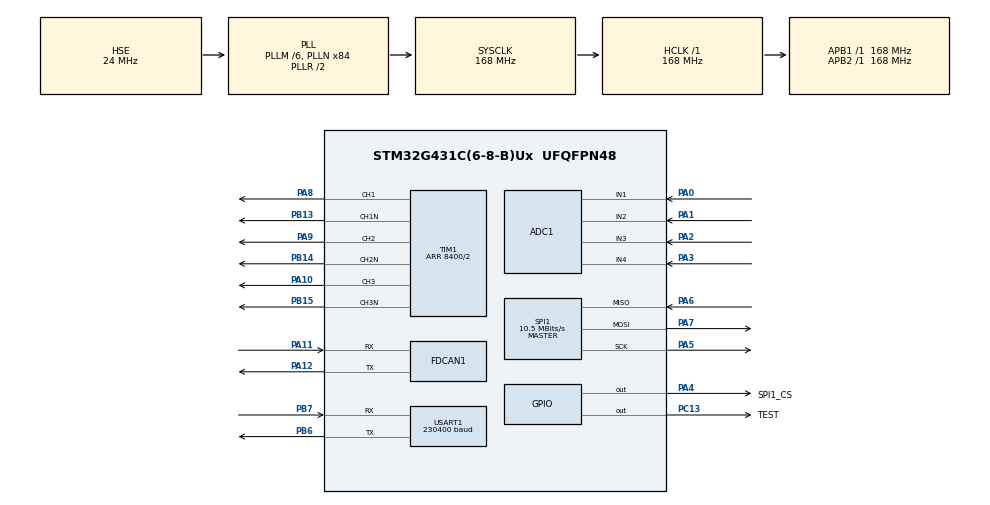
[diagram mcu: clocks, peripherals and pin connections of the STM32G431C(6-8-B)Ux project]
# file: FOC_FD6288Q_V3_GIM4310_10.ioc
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ADC1.ContinuousConvMode=ENABLE
ADC1.EnableInjectedConversion=ENABLE
ADC1.EnableRegularConversion=DISABLE
ADC1.ExternalTrigInjecConv=ADC_EXTERNALTRIGINJEC_T1_TRGO
ADC1.InjNumberOfConversion=4
ADC1.InjectedChannel-1\#ChannelInjectedConversion=ADC_CHANNEL_1
ADC1.InjectedChannel-2\#ChannelInjectedConversion=ADC_CHANNEL_2
ADC1.InjectedChannel-3\#ChannelInjectedConversion=ADC_CHANNEL_3
ADC1.InjectedChannel-4\#ChannelInjectedConversion=ADC_CHANNEL_4
ADC1.InjectedOffsetNumber-1\#ChannelInjectedConversion=ADC_OFFSET_NONE
ADC1.InjectedOffsetNumber-2\#ChannelInjectedConversion=ADC_OFFSET_NONE
ADC1.InjectedOffsetNumber-3\#ChannelInjectedConversion=ADC_OFFSET_NONE
ADC1.InjectedOffsetNumber-4\#ChannelInjectedConversion=ADC_OFFSET_NONE
ADC1.InjectedRank-1\#ChannelInjectedConversion=1
ADC1.InjectedRank-2\#ChannelInjectedConversion=2
ADC1.InjectedRank-3\#ChannelInjectedConversion=3
ADC1.InjectedRank-4\#ChannelInjectedConversion=4
ADC1.InjectedSamplingTime-1\#ChannelInjectedConversion=ADC_SAMPLETIME_6CYCLES_5
ADC1.InjectedSamplingTime-2\#ChannelInjectedConversion=ADC_SAMPLETIME_6CYCLES_5
ADC1.InjectedSamplingTime-3\#ChannelInjectedConversion=ADC_SAMPLETIME_6CYCLES_5
ADC1.InjectedSamplingTime-4\#ChannelInjectedConversion=ADC_SAMPLETIME_6CYCLES_5
ADC1.Rank1_Channel=ADC_CHANNEL_1
ADC1.Rank2_Channel=ADC_CHANNEL_2
ADC1.Rank3_Channel=ADC_CHANNEL_3
ADC1.Rank4_Channel=ADC_CHANNEL_4
ADC1.master=1
Dma.Request0=USART1_TX
Dma.Request1=USART1_RX
Dma.USART1_RX.1.Direction=DMA_PERIPH_TO_MEMORY
Dma.USART1_RX.1.EventEnable=DISABLE
Dma.USART1_RX.1.Instance=DMA1_Channel2
Dma.USART1_RX.1.MemDataAlignment=DMA_MDATAALIGN_BYTE
Dma.USART1_RX.1.MemInc=DMA_MINC_ENABLE
Dma.USART1_RX.1.Mode=DMA_NORMAL
Dma.USART1_RX.1.PeriphDataAlignment=DMA_PDATAALIGN_BYTE
Dma.USART1_RX.1.PeriphInc=DMA_PINC_DISABLE
Dma.USART1_RX.1.Polarity=HAL_DMAMUX_REQ_GEN_RISING
Dma.USART1_RX.1.Priority=DMA_PRIORITY_LOW
Dma.USART1_RX.1.RequestNumber=1
Dma.USART1_RX.1.SignalID=NONE
Dma.USART1_RX.1.SyncEnable=DISABLE
Dma.USART1_RX.1.SyncPolarity=HAL_DMAMUX_SYNC_NO_EVENT
Dma.USART1_RX.1.SyncRequestNumber=1
Dma.USART1_RX.1.SyncSignalID=NONE
Dma.USART1_TX.0.Direction=DMA_MEMORY_TO_PERIPH
Dma.USART1_TX.0.EventEnable=DISABLE
Dma.USART1_TX.0.Instance=DMA1_Channel1
Dma.USART1_TX.0.MemDataAlignment=DMA_MDATAALIGN_BYTE
Dma.USART1_TX.0.MemInc=DMA_MINC_ENABLE
Dma.USART1_TX.0.Mode=DMA_NORMAL
Dma.USART1_TX.0.PeriphDataAlignment=DMA_PDATAALIGN_BYTE
Dma.USART1_TX.0.PeriphInc=DMA_PINC_DISABLE
Dma.USART1_TX.0.Polarity=HAL_DMAMUX_REQ_GEN_RISING
Dma.USART1_TX.0.Priority=DMA_PRIORITY_LOW
Dma.USART1_TX.0.RequestNumber=1
Dma.USART1_TX.0.SignalID=NONE
Dma.USART1_TX.0.SyncEnable=DISABLE
Dma.USART1_TX.0.SyncPolarity=HAL_DMAMUX_SYNC_NO_EVENT
Dma.USART1_TX.0.SyncRequestNumber=1
Dma.USART1_TX.0.SyncSignalID=NONE
FDCAN1.AutoRetransmission=ENABLE
FDCAN1.CalculateBaudRateNominal=1000000
FDCAN1.CalculateTimeBitNominal=1000
FDCAN1.CalculateTimeQuantumNominal=125.0
FDCAN1.ClockDivider=FDCAN_CLOCK_DIV1
FDCAN1.DataPrescaler=17
FDCAN1.DataTimeSeg1=13
FDCAN1.DataTimeSeg2=2
FDCAN1.FrameFormat=FDCAN_FRAME_CLASSIC
FDCAN1.Mode=FDCAN_MODE_NORMAL
FDCAN1.NominalPrescaler=7
FDCAN1.NominalTimeSeg1=4
FDCAN1.NominalTimeSeg2=3
FDCAN1.StdFiltersNbr=1
Mcu.Family=STM32G4
Mcu.Name=STM32G431C(6-8-B)Ux
Mcu.Package=UFQFPN48
NVIC.ADC1_2_IRQn=true\:0\:0\:false\:false\:true\:true\:true\:true
NVIC.DMA1_Channel1_IRQn=true\:0\:0\:false\:false\:true\:false\:true\:true
NVIC.DMA1_Channel2_IRQn=true\:0\:0\:false\:false\:true\:false\:true\:true
NVIC.FDCAN1_IT0_IRQn=true\:0\:0\:false\:false\:true\:true\:true\:true
NVIC.PriorityGroup=NVIC_PRIORITYGROUP_4
NVIC.TIM7_IRQn=true\:0\:0\:false\:false\:true\:true\:true\:true
NVIC.USART1_IRQn=true\:0\:0\:false\:false\:true\:false\:true\:true
PA0.Mode=IN1-Single-Ended
PA0.Signal=ADC1_IN1
PA1.Mode=IN2-Single-Ended
PA1.Signal=ADC1_IN2
PA10.GPIO_Speed=GPIO_SPEED_FREQ_HIGH
PA10.Signal=S_TIM1_CH3
PA11.Mode=FDCAN_Activate
PA11.Signal=FDCAN1_RX
PA12.Mode=FDCAN_Activate
PA12.Signal=FDCAN1_TX
PA13.Mode=Serial_Wire
PA13.Signal=SYS_JTMS-SWDIO
PA14.Mode=Serial_Wire
PA14.Signal=SYS_JTCK-SWCLK
PA2.Mode=IN3-Single-Ended
PA2.Signal=ADC1_IN3
PA3.Mode=IN4-Single-Ended
PA3.Signal=ADC1_IN4
PA4.GPIO_Label=SPI1_CS
PA4.GPIO_Speed=GPIO_SPEED_FREQ_VERY_HIGH
PA4.Signal=GPIO_Output
PA5.Mode=Full_Duplex_Master
PA5.Signal=SPI1_SCK
PA6.GPIO_Speed=GPIO_SPEED_FREQ_VERY_HIGH
PA6.Mode=Full_Duplex_Master
PA6.Signal=SPI1_MISO
PA7.Mode=Full_Duplex_Master
PA7.Signal=SPI1_MOSI
PA8.GPIO_Speed=GPIO_SPEED_FREQ_HIGH
PA8.Signal=S_TIM1_CH1
PA9.GPIO_Speed=GPIO_SPEED_FREQ_HIGH
PA9.Signal=S_TIM1_CH2
PB13.GPIO_Speed=GPIO_SPEED_FREQ_HIGH
PB13.Mode=PWM Generation1 CH1 CH1N
PB13.Signal=TIM1_CH1N
PB14.GPIO_Speed=GPIO_SPEED_FREQ_HIGH
PB14.Mode=PWM Generation2 CH2 CH2N
PB14.Signal=TIM1_CH2N
PB15.GPIO_Speed=GPIO_SPEED_FREQ_HIGH
PB15.Mode=PWM Generation3 CH3 CH3N
PB15.Signal=TIM1_CH3N
PB6.Mode=Asynchronous
PB6.Signal=USART1_TX
PB7.Mode=Asynchronous
PB7.Signal=USART1_RX
PC13.GPIO_Label=TEST
PC13.Signal=GPIO_Output
PF0-OSC_IN.Mode=HSE-External-Oscillator
PF0-OSC_IN.Signal=RCC_OSC_IN
PF1-OSC_OUT.Mode=HSE-External-Oscillator
PF1-OSC_OUT.Signal=RCC_OSC_OUT
ProjectManager.HeapSize=0x200
ProjectManager.StackSize=0x400
ProjectManager.TargetToolchain=MDK-ARM V5.32
RCC.ADC12Freq_Value=168000000
RCC.AHBFreq_Value=168000000
RCC.APB1Freq_Value=168000000
RCC.APB1TimFreq_Value=168000000
RCC.APB2Freq_Value=168000000
RCC.APB2TimFreq_Value=168000000
RCC.CortexFreq_Value=168000000
RCC.EXTERNAL_CLOCK_VALUE=12288000
RCC.FDCANCLockSelection=RCC_FDCANCLKSOURCE_PLL
RCC.HCLKFreq_Value=168000000
RCC.HSE_VALUE=24000000
RCC.HSI48_VALUE=48000000
RCC.HSI_VALUE=16000000
RCC.LSE_VALUE=32768
RCC.PLLM=RCC_PLLM_DIV6
RCC.PLLN=84
RCC.PLLQ=RCC_PLLQ_DIV6
RCC.PLLSourceVirtual=RCC_PLLSOURCE_HSE
RCC.SYSCLKFreq_VALUE=168000000
RCC.SYSCLKSource=RCC_SYSCLKSOURCE_PLLCLK
RCC.USBFreq_Value=56000000
RCC.VCOOutputFreq_Value=336000000
SH.S_TIM1_CH1.0=TIM1_CH1,PWM Generation1 CH1 CH1N
SH.S_TIM1_CH2.0=TIM1_CH2,PWM Generation2 CH2 CH2N
SH.S_TIM1_CH3.0=TIM1_CH3,PWM Generation3 CH3 CH3N
SPI1.BaudRatePrescaler=SPI_BAUDRATEPRESCALER_16
SPI1.CLKPhase=SPI_PHASE_2EDGE
SPI1.CalculateBaudRate=10.5 MBits/s
SPI1.DataSize=SPI_DATASIZE_8BIT
SPI1.Direction=SPI_DIRECTION_2LINES
SPI1.Mode=SPI_MODE_MASTER
SPI1.VirtualType=VM_MASTER
STMicroelectronics.X-CUBE-ALGOBUILD.1.4.0.LibraryCcDSPOoLibraryJjDSPOoLibrary=true
TIM1.AutoReloadPreload=TIM_AUTORELOAD_PRELOAD_ENABLE
TIM1.AutomaticOutput=TIM_AUTOMATICOUTPUT_ENABLE
TIM1.Channel-PWM\ Generation1\ CH1\ CH1N=TIM_CHANNEL_1
TIM1.Channel-PWM\ Generation2\ CH2\ CH2N=TIM_CHANNEL_2
TIM1.Channel-PWM\ Generation3\ CH3\ CH3N=TIM_CHANNEL_3
TIM1.Channel-PWM\ Generation4\ No\ Output=TIM_CHANNEL_4
TIM1.CounterMode=TIM_COUNTERMODE_CENTERALIGNED1
TIM1.DeadTime=0
TIM1.LockLevel=TIM_LOCKLEVEL_1
TIM1.OCMode_PWM-PWM\ Generation1\ CH1\ CH1N=TIM_OCMODE_PWM2
TIM1.OCMode_PWM-PWM\ Generation2\ CH2\ CH2N=TIM_OCMODE_PWM2
TIM1.OCMode_PWM-PWM\ Generation3\ CH3\ CH3N=TIM_OCMODE_PWM2
TIM1.OCMode_PWM-PWM\ Generation4\ No\ Output=TIM_OCMODE_PWM1
TIM1.OffStateIDLEMode=TIM_OSSI_ENABLE
TIM1.OffStateRunMode=TIM_OSSR_ENABLE
TIM1.PeriodNoDither=8400/2
TIM1.PulseNoDither_1=2100
TIM1.PulseNoDither_2=2100
TIM1.PulseNoDither_3=2100
TIM1.PulseNoDither_4=10
TIM1.RepetitionCounter=1
TIM1.TIM_MasterOutputTrigger=TIM_TRGO_UPDATE
TIM7.AutoReloadPreload=TIM_AUTORELOAD_PRELOAD_DISABLE
TIM7.PeriodNoDither=125-1
TIM7.Prescaler=168-1
USART1.BaudRate=230400
USART1.VirtualMode-Asynchronous=VM_ASYNC
VP_CORDIC_VS_CORDIC.Mode=CORDIC_Activate
VP_STMicroelectronics.X-CUBE-ALGOBUILD_VS_DSPOoLibraryJjLibrary_1.4.0_1.4.0.Mode=DSPOoLibraryJjLibrary
VP_SYS_VS_DBSignals.Mode=DisableDeadBatterySignals
VP_TIM1_VS_ClockSourceINT.Mode=Internal
VP_TIM1_VS_no_output4.Mode=PWM Generation4 No Output
VP_TIM7_VS_ClockSourceINT.Mode=Enable_Timer
board=custom

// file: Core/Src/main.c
/* USER CODE BEGIN Header */
/**
  ******************************************************************************
  * @file           : main.c
  * @brief          : Main program body
  ******************************************************************************
  * @attention
  *
  * Copyright (c) 2025 STMicroelectronics.
  * All rights reserved.
  *
  * This software is licensed under terms that can be found in the LICENSE file
  * in the root directory of this software component.
  * If no LICENSE file comes with this software, it is provided AS-IS.
  *
  ******************************************************************************
  */
/* USER CODE END Header */
#include "main.h"
#include "adc.h"
#include "cordic.h"
#include "dma.h"
#include "fdcan.h"
#include "spi.h"
#include "tim.h"
#include "usart.h"
#include "gpio.h"

void SystemClock_Config(void);

/* USER CODE BEGIN 0 */

#include "ALL_H.h"
#include "MT6701.h"

uint16_t ADC1InjectDate[4];     //注入组采样数组

float Fir_Output[4]={0};        //Fir滤波器滤波后的值

AdcValue adcvalue;              //ADC采样变量
AllFlag allflag;                //标志位变量
Encoder_Struct encoder_str;     //编码器结构体
SVPWM_Struct svpwm_str;         //svpwm结构体
PID pid_m1;                     //PID参数结构体
CANFD_Message CanFD_Message;    //CAN通信消息结构体
Motor_Factor motor_factor;      //电机参数结构体

extern float Iwidth;

/* USER CODE END 0 */

int main(void)
{

  /* MCU Configuration--------------------------------------------------------*/

  /* Reset of all peripherals, Initializes the Flash interface and the Systick. */
  HAL_Init();

  /* Configure the system clock */
  SystemClock_Config();

  /* Initialize all configured peripherals */
  MX_GPIO_Init();
  MX_DMA_Init();
  MX_ADC1_Init();
  MX_SPI1_Init();
  MX_TIM1_Init();
  MX_USART1_UART_Init();
  MX_CORDIC_Init();
  MX_FDCAN1_Init();
  MX_TIM7_Init();
  /* USER CODE BEGIN 2 */

  HAL_Delay(1000);
	//中断初始化
	Enable_IT();

  /* USER CODE END 2 */

  /* Infinite loop */
  while (1)
  {

    /* USER CODE BEGIN 3 */
//	pid_m1.Kp_i=motor_factor.motor_phaseL*2.0f*M_PI*Iwidth;           //0.4241149f(150) 0.2827433f(100)
//	pid_m1.Ki_i=(motor_factor.motor_phaseR*2.0f*M_PI*Iwidth)/20000.0f;  //0.0315729f(150) 0.0210486f(100)

	  encoder_str.Encoder = MT6701_ReadRaw();//10us

//	  allflag.CANFD_Tx_flag=CANFD_Send(0x10,3,encoder_str.Encoder_raw,0,pid_m1.Iq_current);
//	  pid_m1.Kp_i=0.0497626f/200*Iwidth;
//	  pid_m1.Ki_i=0.0047392f/200*Iwidth;

//	  printf("raw:%d\r\n",raw);
  }
  /* USER CODE END 3 */
}

void SystemClock_Config(void)
{
  RCC_OscInitTypeDef RCC_OscInitStruct = {0};
  RCC_ClkInitTypeDef RCC_ClkInitStruct = {0};

  /** Configure the main internal regulator output voltage
  */
  HAL_PWREx_ControlVoltageScaling(PWR_REGULATOR_VOLTAGE_SCALE1_BOOST);

  /** Initializes the RCC Oscillators according to the specified parameters
  * in the RCC_OscInitTypeDef structure.
  */
  RCC_OscInitStruct.OscillatorType = RCC_OSCILLATORTYPE_HSE;
  RCC_OscInitStruct.HSEState = RCC_HSE_ON;
  RCC_OscInitStruct.PLL.PLLState = RCC_PLL_ON;
  RCC_OscInitStruct.PLL.PLLSource = RCC_PLLSOURCE_HSE;
  RCC_OscInitStruct.PLL.PLLM = RCC_PLLM_DIV6;
  RCC_OscInitStruct.PLL.PLLN = 84;
  RCC_OscInitStruct.PLL.PLLP = RCC_PLLP_DIV2;
  RCC_OscInitStruct.PLL.PLLQ = RCC_PLLQ_DIV6;
  RCC_OscInitStruct.PLL.PLLR = RCC_PLLR_DIV2;
  if (HAL_RCC_OscConfig(&RCC_OscInitStruct) != HAL_OK)
  {
    Error_Handler();
  }

  /** Initializes the CPU, AHB and APB buses clocks
  */
  RCC_ClkInitStruct.ClockType = RCC_CLOCKTYPE_HCLK|RCC_CLOCKTYPE_SYSCLK
                              |RCC_CLOCKTYPE_PCLK1|RCC_CLOCKTYPE_PCLK2;
  RCC_ClkInitStruct.SYSCLKSource = RCC_SYSCLKSOURCE_PLLCLK;
  RCC_ClkInitStruct.AHBCLKDivider = RCC_SYSCLK_DIV1;
  RCC_ClkInitStruct.APB1CLKDivider = RCC_HCLK_DIV1;
  RCC_ClkInitStruct.APB2CLKDivider = RCC_HCLK_DIV1;

  if (HAL_RCC_ClockConfig(&RCC_ClkInitStruct, FLASH_LATENCY_4) != HAL_OK)
  {
    Error_Handler();
  }
}

void Error_Handler(void)
{
  __disable_irq();
  while (1)
  {
  }
}
